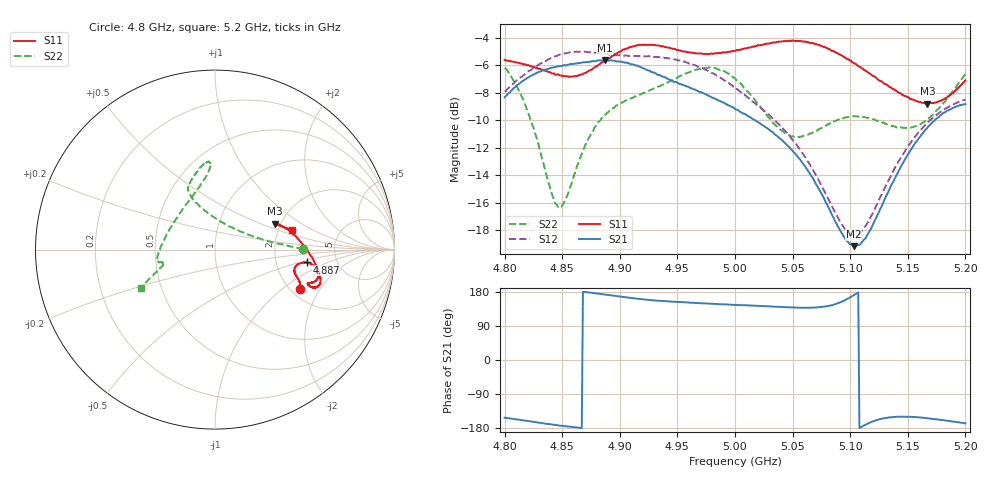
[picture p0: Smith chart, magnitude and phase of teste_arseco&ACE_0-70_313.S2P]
! Network Analyzer HP8722D
! Hewlett-Packard
! Data name: Linha & Wilkinson
! Saver's name: Rodrigo Anjos
! Comments: Teste da utilização de aquisição
! continua pelo VNA HP8722D
! Time and date: 8/5/2025 15:22
!  Frequency  S11  S21  S12  S22
# HZ  S  MA R 50
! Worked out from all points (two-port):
!   401 points, 4.8 GHz to 5.2 GHz, reference 50 ohm
!   highest |S21| = -5.63 dB at 4.887 GHz (marker M1); lowest = -19.2 dB at 5.103 GHz (marker M2)
!   |S21| within 3 dB of the highest: start of sweep to 4.988 GHz
!   lowest |S11| = -8.8 dB at 5.167 GHz (marker M3), VSWR 2.14, Z = 93.4 + j31 ohm
!   |S11| at or under -10 dB: nowhere
!   |S22| runs from -16.4 to -6.2 dB; largest |S21 - S12| = 1.1
!   S11 on the Smith chart (normalised r, x): 4.8 GHz: 2.24, -1.36; 4.887 GHz: 3.02, -0.59; 5.2 GHz: 2.36, +0.65
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4.8e9  0.5237 -24.9  0.3828 -152.4  0.4013 7.0  0.4907 0.4
4.818e9  0.505 -20.9  0.4451 -160.0  0.4674 4.3  0.3582 5.2
4.841e9  0.4677 -17.1  0.4909 -170.2  0.5313 0.7  0.1705 37.8
4.846e9  0.4642 -16.0  0.4968 -172.1  0.5435 -0.2  0.1536 55.6
4.853e9  0.4565 -14.5  0.4991 -174.9  0.5544 -1.4  0.1623 80.9
4.867e9  0.463 -10.7  0.5126 -179.8  0.5603 -3.6  0.2378 106.6
4.887e9  0.5185 -7.9  0.5228 173.0  0.5527 -4.5  0.3298 114.4
4.912e9  0.5865 -11.8  0.5031 162.9  0.5421 -3.5  0.3837 112.5
4.934e9  0.5904 -17.0  0.4625 156.3  0.5364 -4.4  0.4194 106.9
4.975e9  0.5505 -20.2  0.392 149.2  0.4819 -7.8  0.4892 94.9
5e9  0.5655 -20.8  0.3477 145.3  0.4183 -7.6  0.4485 94.0
5.041e9  0.6116 -19.2  0.2672 140.1  0.2972 0.1  0.2889 128.4
5.054e9  0.6141 -17.0  0.2336 138.2  0.2555 3.4  0.2744 147.7
5.067e9  0.6028 -14.1  0.1961 138.2  0.2111 8.4  0.284 165.2
5.092e9  0.5451 -5.2  0.124 153.0  0.1332 32.1  0.3205 -174.5
5.103e9  0.511 -0.0  0.11 170.8  0.1206 52.7  0.3267 -170.4
5.115e9  0.4734 6.2  0.1211 -168.0  0.1336 75.4  0.3228 -167.9
5.134e9  0.4184 15.7  0.1768 -151.5  0.1934 94.0  0.3035 -166.6
5.152e9  0.3773 21.9  0.2443 -150.0  0.2597 98.6  0.2964 -164.7
5.167e9  0.3634 23.4  0.2964 -153.7  0.3093 99.1  0.3193 -161.8
5.182e9  0.3786 21.0  0.3374 -159.4  0.3468 99.1  0.3679 -157.8
5.2e9  0.4412 14.6  0.3618 -167.0  0.3765 99.7  0.4649 -152.4
